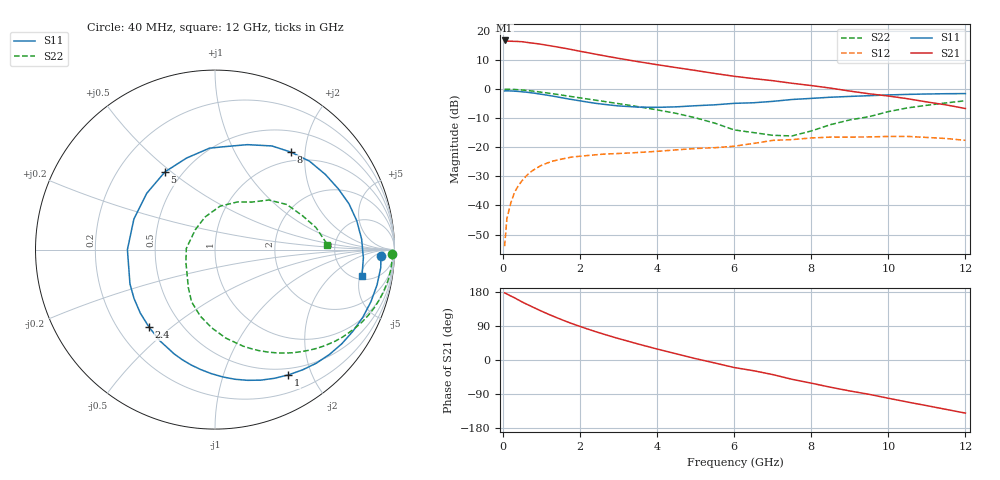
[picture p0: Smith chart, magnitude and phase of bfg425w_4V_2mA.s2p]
! Filename: 42bfg425.001
! BFG425W Field C1
! V1=8.013E-001V,V2=4.000E+000V, I1=1.856E-005A, I2=2.000E-003A
# GHz  S  MA  R 50
!  S11  S21  S12  S22
!Freq(GHz)  Mag  Ang  Mag  Ang  Mag  Ang  Mag  Ang
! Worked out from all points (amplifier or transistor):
!   44 points, 40 MHz to 12 GHz, reference 50 ohm
!   highest |S21| = 16.6 dB at 40 MHz (marker M1)
!   |S21| within 3 dB of that: start of sweep to 1.728 GHz
!   unconditionally stable (mu >= 1): 3.114 GHz to end of sweep
!   at 700 MHz: K = 0.19, MSG = 22.2 dB, |S12| = -28.6 dB
!   at 2.4 GHz: K = 0.72, MSG = 17.3 dB, |S12| = -22.6 dB
!   at 12 GHz: K = 1.80, MAG = 0.3 dB, |S12| = -17.7 dB
!   S11 on the Smith chart (normalised r, x): 40 MHz: 21, -10; 1 GHz: 0.41, -1.67; 2.4 GHz: 0.33, -0.42; 5 GHz: 0.40, +0.47; 8 GHz: 0.84, +1.73; 12 GHz: 5.64, -5.40
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0.04  0.925 -2.1  6.795 177.1  0.002 61.4  0.989 -1.4
0.1  0.929 -6.2  6.635 174.2  0.006 80.3  0.989 -3.4
0.2  0.924 -12.3  6.588 168.8  0.011 78.4  0.985 -6.9
0.3  0.916 -18.5  6.557 164.1  0.017 75.7  0.979 -10.2
0.5  0.893 -30.6  6.457 152.9  0.027 68.4  0.958 -16.8
0.8  0.848 -48.3  6.074 138.2  0.041 57.8  0.914 -26.1
1  0.809 -59.7  5.83 128.8  0.049 51.3  0.878 -31.8
1.2  0.771 -70.6  5.54 119.8  0.055 45.4  0.843 -37.2
1.5  0.711 -86.5  5.12 107.3  0.062 37.3  0.788 -44.4
1.8  0.656 -101.8  4.709 95.6  0.068 30.5  0.735 -51.0
2.2  0.594 -121.0  4.185 81.5  0.072 23.2  0.671 -59.1
2.4  0.567 -130.5  3.953 74.9  0.074 20.1  0.641 -62.9
3  0.511 -158.0  3.348 56.5  0.078 12.8  0.559 -73.9
3.5  0.488 180.0  2.945 42.4  0.081 8.4  0.497 -83.0
4.5  0.493 140.4  2.321 16.2  0.09 1.0  0.38 -102.4
5  0.515 122.8  2.073 3.6  0.095 -4.1  0.319 -114.2
6  0.566 93.1  1.649 -19.9  0.104 -14.1  0.198 -142.5
6.5  0.579 83.2  1.505 -28.2  0.116 -11.7  0.178 -155.5
8  0.688 52.2  1.143 -61.1  0.144 -36.1  0.19 106.9
8.5  0.721 43.1  1.033 -71.9  0.149 -45.2  0.244 83.2
10.5  0.806 11.5  0.679 -110.9  0.153 -80.4  0.473 32.1
12  0.832 -10.2  0.461 -140.1  0.131 -112.4  0.627 2.6
